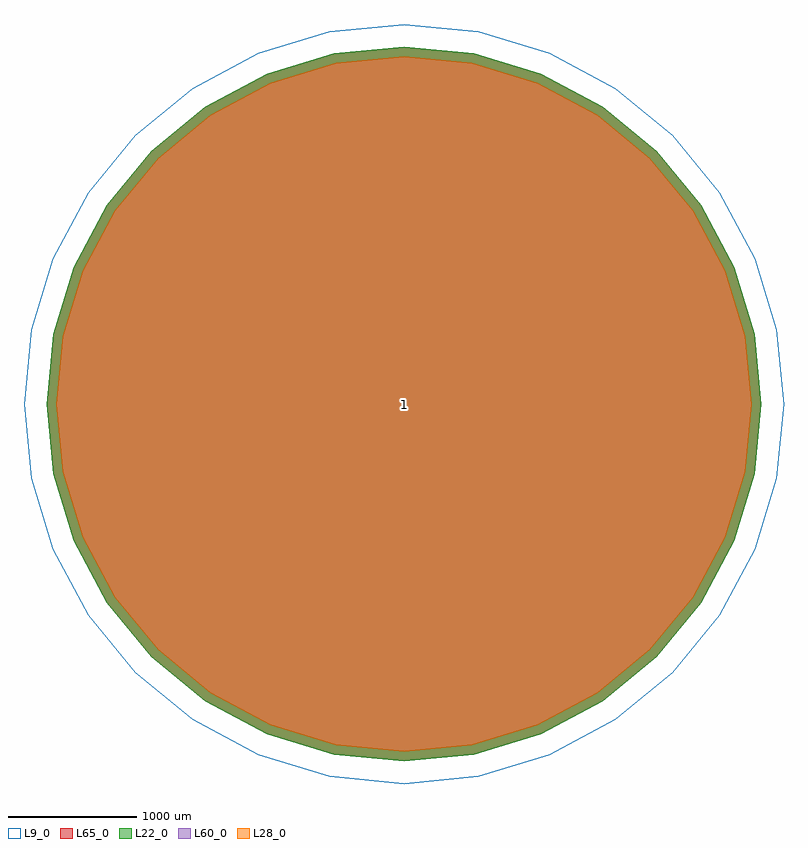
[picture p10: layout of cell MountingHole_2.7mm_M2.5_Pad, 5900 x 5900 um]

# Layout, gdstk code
import gdstk
lib = gdstk.Library(unit=1e-6, precision=1e-09)
def P(c, l, *ps):  # polygons
    for p in ps: c.add(gdstk.Polygon(p, *l))
L9_0 = (9, 0)
L22_0 = (22, 0)
L28_0 = (28, 0)
L60_0 = (60, 0)
L65_0 = (65, 0)

mountinghole_2_7mm_m2_5_ = lib.new_cell('MountingHole_2.7mm_M2.5_Pad')
P(mountinghole_2_7mm_m2_5_, L9_0, [(2950,0),(2893.317,575.516),(2725.445,1128.916),(2452.835,1638.932),(2085.965,2085.965),(1638.932,2452.835),(1128.916,2725.445),(575.516,2893.317),(0,2950),(-575.516,2893.317),(-1128.916,2725.445),(-1638.932,2452.835),(-2085.965,2085.965),(-2452.835,1638.932),(-2725.445,1128.916),(-2893.317,575.516),(-2950,0),(-2893.317,-575.516),(-2725.445,-1128.916),(-2452.835,-1638.932),(-2085.965,-2085.965),(-1638.932,-2452.835),(-1128.916,-2725.445),(-575.516,-2893.317),(0,-2950),(575.516,-2893.317),(1128.916,-2725.445),(1638.932,-2452.835),(2085.965,-2085.965),(2452.835,-1638.932),(2725.445,-1128.916),(2893.317,-575.516)],
  [(2700,0),(2648.12,526.744),(2494.475,1033.245),(2244.968,1500.04),(1909.188,1909.188),(1500.04,2244.968),(1033.245,2494.475),(526.744,2648.12),(0,2700),(-526.744,2648.12),(-1033.245,2494.475),(-1500.04,2244.968),(-1909.188,1909.188),(-2244.968,1500.04),(-2494.475,1033.245),(-2648.12,526.744),(-2700,0),(-2648.12,-526.744),(-2494.475,-1033.245),(-2244.968,-1500.04),(-1909.188,-1909.188),(-1500.04,-2244.968),(-1033.245,-2494.475),(-526.744,-2648.12),(0,-2700),(526.744,-2648.12),(1033.245,-2494.475),(1500.04,-2244.968),(1909.188,-1909.188),(2244.968,-1500.04),(2494.475,-1033.245),(2648.12,-526.744)])
P(mountinghole_2_7mm_m2_5_, L22_0, [(2775,0),(2721.679,541.376),(2563.766,1061.947),(2307.328,1541.707),(1962.221,1962.221),(1541.707,2307.328),(1061.947,2563.766),(541.376,2721.679),(0,2775),(-541.376,2721.679),(-1061.947,2563.766),(-1541.707,2307.328),(-1962.221,1962.221),(-2307.328,1541.707),(-2563.766,1061.947),(-2721.679,541.376),(-2775,0),(-2721.679,-541.376),(-2563.766,-1061.947),(-2307.328,-1541.707),(-1962.221,-1962.221),(-1541.707,-2307.328),(-1061.947,-2563.766),(-541.376,-2721.679),(0,-2775),(541.376,-2721.679),(1061.947,-2563.766),(1541.707,-2307.328),(1962.221,-1962.221),(2307.328,-1541.707),(2563.766,-1061.947),(2721.679,-541.376)])
P(mountinghole_2_7mm_m2_5_, L28_0, [(2700,0),(2648.12,526.744),(2494.475,1033.245),(2244.968,1500.04),(1909.188,1909.188),(1500.04,2244.968),(1033.245,2494.475),(526.744,2648.12),(0,2700),(-526.744,2648.12),(-1033.245,2494.475),(-1500.04,2244.968),(-1909.188,1909.188),(-2244.968,1500.04),(-2494.475,1033.245),(-2648.12,526.744),(-2700,0),(-2648.12,-526.744),(-2494.475,-1033.245),(-2244.968,-1500.04),(-1909.188,-1909.188),(-1500.04,-2244.968),(-1033.245,-2494.475),(-526.744,-2648.12),(0,-2700),(526.744,-2648.12),(1033.245,-2494.475),(1500.04,-2244.968),(1909.188,-1909.188),(2244.968,-1500.04),(2494.475,-1033.245),(2648.12,-526.744)])
P(mountinghole_2_7mm_m2_5_, L60_0, [(2700,0),(2648.12,526.744),(2494.475,1033.245),(2244.968,1500.04),(1909.188,1909.188),(1500.04,2244.968),(1033.245,2494.475),(526.744,2648.12),(0,2700),(-526.744,2648.12),(-1033.245,2494.475),(-1500.04,2244.968),(-1909.188,1909.188),(-2244.968,1500.04),(-2494.475,1033.245),(-2648.12,526.744),(-2700,0),(-2648.12,-526.744),(-2494.475,-1033.245),(-2244.968,-1500.04),(-1909.188,-1909.188),(-1500.04,-2244.968),(-1033.245,-2494.475),(-526.744,-2648.12),(0,-2700),(526.744,-2648.12),(1033.245,-2494.475),(1500.04,-2244.968),(1909.188,-1909.188),(2244.968,-1500.04),(2494.475,-1033.245),(2648.12,-526.744)])
P(mountinghole_2_7mm_m2_5_, L65_0, [(2775,0),(2721.679,541.376),(2563.766,1061.947),(2307.328,1541.707),(1962.221,1962.221),(1541.707,2307.328),(1061.947,2563.766),(541.376,2721.679),(0,2775),(-541.376,2721.679),(-1061.947,2563.766),(-1541.707,2307.328),(-1962.221,1962.221),(-2307.328,1541.707),(-2563.766,1061.947),(-2721.679,541.376),(-2775,0),(-2721.679,-541.376),(-2563.766,-1061.947),(-2307.328,-1541.707),(-1962.221,-1962.221),(-1541.707,-2307.328),(-1061.947,-2563.766),(-541.376,-2721.679),(0,-2775),(541.376,-2721.679),(1061.947,-2563.766),(1541.707,-2307.328),(1962.221,-1962.221),(2307.328,-1541.707),(2563.766,-1061.947),(2721.679,-541.376)])
mountinghole_2_7mm_m2_5_.add(gdstk.Label('1', (0,0), layer=28, texttype=0))
mountinghole_2_7mm_m2_5_.add(gdstk.Label('type', (0,-3700), layer=9, texttype=0))
mountinghole_2_7mm_m2_5_.add(gdstk.Label('devicename', (0,3700), layer=9, texttype=0))

lib.write_gds('MountingHole_2.7mm_M2.5_Pad.gds')
